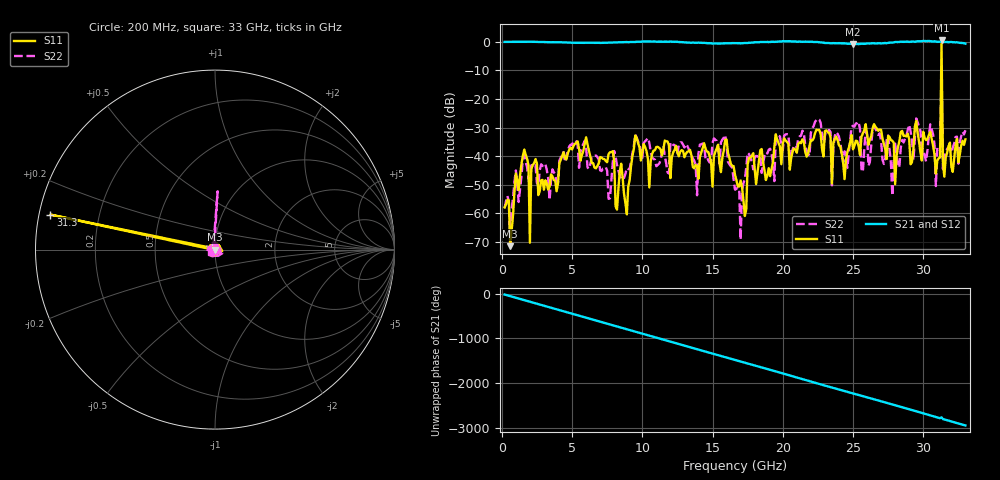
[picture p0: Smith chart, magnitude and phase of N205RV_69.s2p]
# GHZ S RI R 50
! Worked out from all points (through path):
!   329 points, 200 MHz to 33 GHz, reference 50 ohm
!   highest |S21| = 0.52 dB at 31.3 GHz (marker M1); lowest = -0.8 dB at 25 GHz (marker M2)
!   lowest |S11| = -71.6 dB at 600 MHz (marker M3), VSWR 1.00, Z = 50 + j0.0197 ohm
!   |S11| at or under -10 dB: start of sweep to 31.28 GHz; 31.32 GHz to end of sweep
!   |S22| runs from -71.5 to -9.8 dB; largest |S21 - S12| = 0.033
!   S11 on the Smith chart (normalised r, x): 200 MHz: 1.00, -0.00; 31.3 GHz: 0.03, +0.11; 33 GHz: 0.97, -0.02
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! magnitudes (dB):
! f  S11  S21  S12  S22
! 200 MHz  -58.0  0.0  0.0  -58.3
! 600 MHz  -71.6  0.0  0.0  -71.5
! 1.6 GHz  -37.7  0.1  0.1  -39.7
! 2 GHz  -70.4  0.1  0.1  -50.8
! 2.4 GHz  -41.1  0.1  0.0  -43.2
! 5.7 GHz  -39.7  -0.3  -0.3  -36.7
! 8.9 GHz  -60.5  0.0  0.0  -44.2
! 9.5 GHz  -32.8  0.0  0.0  -32.5
! 11.2 GHz  -37.1  0.1  0.1  -42.7
! 16.6 GHz  -46.6  -0.5  -0.5  -51.8
! 17 GHz  -48.6  -0.5  -0.5  -69.4
! 17.5 GHz  -43.0  -0.4  -0.4  -38.8
! 22.1 GHz  -34.5  0.0  0.0  -30.3
! 23.5 GHz  -49.6  -0.4  -0.4  -50.3
! 25 GHz  -37.6  -0.8  -0.8  -29.4
! 27.6 GHz  -33.3  -0.3  -0.2  -37.5
! 30.5 GHz  -31.5  0.3  0.3  -28.9
! 30.9 GHz  -46.2  0.2  0.2  -50.5
! 31.2 GHz  -40.5  0.1  0.1  -38.1
! 31.3 GHz  -0.6  0.5  0.3  -9.8
! 31.5 GHz  -47.2  0.0  0.0  -41.2
! 33 GHz  -34.1  -0.6  -0.6  -31.0
